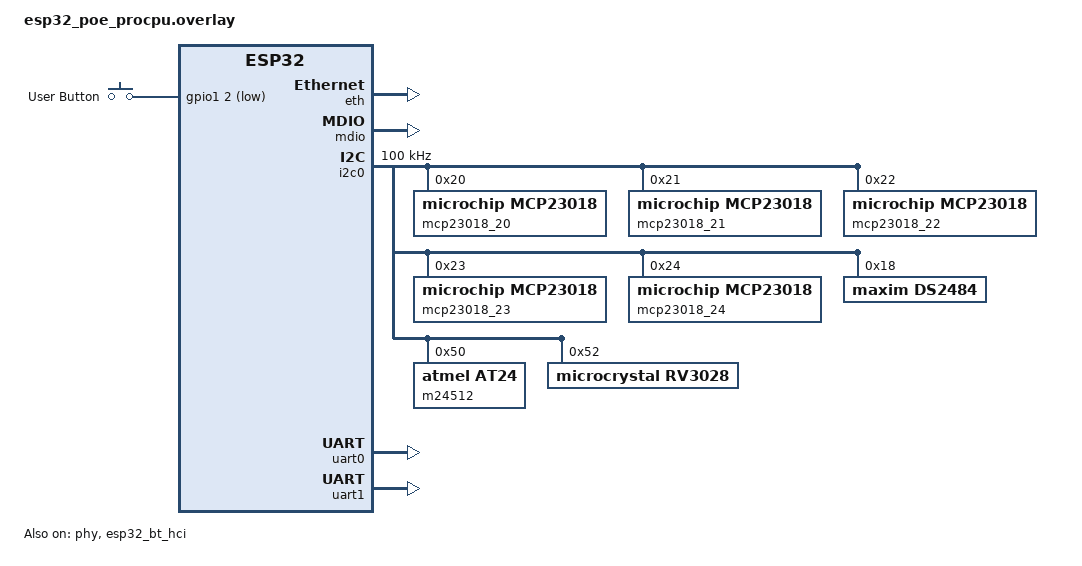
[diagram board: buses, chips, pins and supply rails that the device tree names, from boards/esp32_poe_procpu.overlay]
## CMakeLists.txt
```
# SPDX-License-Identifier: Apache-2.0

cmake_minimum_required(VERSION 3.20.0)

find_package(Zephyr REQUIRED HINTS $ENV{ZEPHYR_BASE})
project(siot)

zephyr_include_directories(
	${CMAKE_CURRENT_SOURCE_DIR}/../common
	${CMAKE_CURRENT_SOURCE_DIR}/snmp
)

target_sources(app PRIVATE 
	src/main.c
	src/network.c 
	src/led.c
	src/w1.c
	src/web.c
	src/dc.c
	src/fan.c
	src/ats.c
	src/snmp.c
	# src/ble.c
	snmp/z-mr.mib.c
	src/eeprom.c
)

set(gen_dir ${ZEPHYR_BINARY_DIR}/include/generated/)

foreach(web_resource index.html index.js)
	generate_inc_file_for_target(
		app
		frontend/dist/${web_resource}
		${gen_dir}/${web_resource}.gz.inc
		--gzip
	)
endforeach()

zephyr_linker_sources(SECTIONS sections-rom.ld)

zephyr_linker_section_ifdef(CONFIG_NET_SAMPLE_HTTP_SERVICE NAME
				http_resource_desc_test_http_service
				KVMA RAM_REGION GROUP RODATA_REGION
				SUBALIGN Z_LINK_ITERABLE_SUBALIGN)
```

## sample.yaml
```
sample:
  description: Zonit M+R
  name: z-mr
common:
  tags: introduction
  integration_platforms:
    - native_sim
  harness: console
  harness_config:
    type: one_line
    regex:
      - "Hello World! (.*)"
tests:
  sample.basic.helloworld:
    tags: introduction
  sample.bluetooth.peripheral:
    harness: bluetooth
    platform_allow:
      - qemu_x86
      - nucleo_wb55rg
    integration_platforms:
      - qemu_x86
    tags: bluetooth
  sample.bluetooth.peripheral.x_nucleo_idb05a1_shield:
    harness: bluetooth
    platform_allow: nucleo_l4r5zi
    depends_on:
      - arduino_spi
      - arduino_gpio
    extra_args: SHIELD=x_nucleo_idb05a1
    integration_platforms:
      - nucleo_l4r5zi
  sample.bluetooth.peripheral.no_blobs:
    extra_args:
      - CONFIG_BUILD_ONLY_NO_BLOBS=y
    platform_allow:
      - esp32_devkitc_wroom/esp32/procpu
      - esp32s3_devkitm/esp32s3/procpu
      - esp32c3_devkitm
      - sltb010a/efr32bg22c224f512im40
      - xg24_rb4187c/efr32mg24b220f1536im48
      - xg27_dk2602a/efr32bg27c140f768im40
      - xg29_rb4412a/efr32mg29b140f1024im40
    build_only: true
```

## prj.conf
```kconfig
CONFIG_SHELL=y

CONFIG_NETWORKING=y
CONFIG_NET_L2_ETHERNET=y

CONFIG_NET_IPV6=n
CONFIG_NET_IPV4=y
CONFIG_NET_DHCPV4=y
CONFIG_NET_SOCKETS=y
CONFIG_NET_TCP=y
CONFIG_NET_UDP=y
CONFIG_NET_CONNECTION_MANAGER=y
CONFIG_NET_LOG=y

# Enable LLMNR to find the device "by name"
# A different name can be chosen in stead of "esp32"
# Don't forget to set LLMNR=yes in /etc/systemd/resolved.conf
CONFIG_NET_HOSTNAME_ENABLE=y
CONFIG_NET_HOSTNAME="Z-MR"
CONFIG_LLMNR_RESPONDER=y

# CONFIG_NET_SHELL=y
CONFIG_NET_CONFIG_SETTINGS=y
# This determines the max number of sockets in a call to select().
CONFIG_ZVFS_POLL_MAX=16

CONFIG_DNS_RESOLVER=y
CONFIG_DNS_SERVER_IP_ADDRESSES=y
CONFIG_DNS_SERVER1="8.8.8.8"

# HTTP Server stuff
CONFIG_HTTP_SERVER=y
#CONFIG_HTTP_SERVER_WEBSOCKET=y
CONFIG_HTTP_SERVER_RESOURCE_WILDCARD=y
#CONFIG_NET_HTTP_SERVER_LOG_LEVEL_DBG=y
CONFIG_EVENTFD=y
CONFIG_ZVFS_EVENTFD_MAX=10
CONFIG_EVENTFD_MAX=5
CONFIG_INIT_STACKS=y
CONFIG_ZVFS_OPEN_MAX=32
CONFIG_POSIX_API=y
CONFIG_POSIX_CLOCK=y
CONFIG_POSIX_TIMERS=y
CONFIG_FDTABLE=y
CONFIG_NET_SOCKETS_POLL_MAX=16

CONFIG_HTTP_PARSER_URL=y
CONFIG_HTTP_PARSER=y
CONFIG_HTTP_SERVER=y
CONFIG_HTTP_SERVER_MAX_CLIENTS=3

# Network buffers
CONFIG_NET_PKT_RX_COUNT=8
CONFIG_NET_PKT_TX_COUNT=8
CONFIG_NET_BUF_RX_COUNT=64
CONFIG_NET_BUF_TX_COUNT=64
CONFIG_NET_CONTEXT_NET_PKT_POOL=y

# CONFIG_HTTP_SERVER_MAX_HEADER_LEN=256

# IP address options
CONFIG_NET_IF_UNICAST_IPV6_ADDR_COUNT=3
CONFIG_NET_IF_MCAST_IPV6_ADDR_COUNT=4
CONFIG_NET_MAX_CONTEXTS=32
CONFIG_NET_MAX_CONN=32
# Limits the time blocked in recv() and rechfrom().
CONFIG_NET_CONTEXT_RCVTIMEO=y

CONFIG_LOG=y
CONFIG_LOG_CMDS=y
CONFIG_THREAD_MONITOR=y
CONFIG_THREAD_RUNTIME_STATS=y
CONFIG_SCHED_THREAD_USAGE=y
CONFIG_SCHED_THREAD_USAGE_ANALYSIS=y
CONFIG_SCHED_THREAD_USAGE_ALL=y
CONFIG_SCHED_THREAD_USAGE_AUTO_ENABLE=y

CONFIG_INPUT=y
# CONFIG_INPUT_SHELL=y
# CONFIG_INPUT_EVENT_DUMP=y

# DEBUGGING STUFF
CONFIG_LED=y
# CONFIG_LED_SHELL=y

# CONFIG_SNMP_LOG_LEVEL_DBG=y
CONFIG_GPIO=y
CONFIG_GPIO_MCP230XX=y
CONFIG_I2C=y
CONFIG_I2C_SHELL=y
# CONFIG_I2C_LOG_LEVEL_DEBUG=y
CONFIG_GPIO_SHELL=y
# CONFIG_GPIO_DIRECTION=y
# CONFIG_GPIO_GET_CONFIG=y
CONFIG_GPIO_LOG_LEVEL_DBG=y

CONFIG_W1=y
CONFIG_W1_SHELL=y
CONFIG_W1_DS2484=y
CONFIG_SENSOR=y
# CONFIG_SENSOR_SHELL=y
CONFIG_SENSOR_LOG_LEVEL_DBG=y
CONFIG_DS18B20=y

# use ASSERT during development and remove before releases
CONFIG_ASSERT=y
CONFIG_ZBUS=y
CONFIG_ZBUS_RUNTIME_OBSERVERS=y
CONFIG_ZBUS_MSG_SUBSCRIBER=y
CONFIG_ZBUS_LOG_LEVEL_INF=y
# CONFIG_ZBUS_RUNTIME_OBSERVERS_POOL_SIZE=8
CONFIG_ZBUS_CHANNEL_NAME=y

# lib SNMP does not compile yet
# Uncomment the line to start including SNMP.
CONFIG_LIB_SNMP=y

CONFIG_LIB_SIOT=y

# these two options are currently crashing the system once we fetch a point
CONFIG_REQUIRES_FLOAT_PRINTF=y

# CONFIG_DEBUG_COREDUMP=y

# Not sure if this does anything, does not seem to make and diff
# in memory usage
CONFIG_FPU=y

# for bluetooth:
CONFIG_SYSTEM_WORKQUEUE_STACK_SIZE=2048

# CONFIG_BT=y
CONFIG_BT_SMP=y
CONFIG_BT_SIGNING=y
CONFIG_BT_PERIPHERAL=y
CONFIG_BT_DIS=y
CONFIG_BT_ATT_PREPARE_COUNT=5

CONFIG_BT_BAS=y
CONFIG_BT_HRS=y
CONFIG_BT_IAS=y
CONFIG_BT_CTS=y
CONFIG_BT_CTS_HELPER_API=y
CONFIG_BT_PRIVACY=y
CONFIG_BT_DEVICE_NAME="Z-MR BLE"
CONFIG_BT_DEVICE_APPEARANCE=833
CONFIG_BT_DEVICE_NAME_DYNAMIC=y

CONFIG_BT_DEVICE_NAME_MAX=10

CONFIG_BT_KEYS_OVERWRITE_OLDEST=y
CONFIG_BT_SETTINGS=y
CONFIG_FLASH=y
CONFIG_FLASH_MAP=y
CONFIG_NVS=y
CONFIG_SETTINGS=y

# Console and logging configurations
CONFIG_SERIAL=y
CONFIG_CONSOLE=y
CONFIG_UART_CONSOLE=y
CONFIG_LOG_PROCESS_THREAD=y
CONFIG_LOG_BUFFER_SIZE=1024
CONFIG_LOG_PRINTK=y
CONFIG_BOOT_BANNER=y
```

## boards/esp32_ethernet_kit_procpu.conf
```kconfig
CONFIG_ETH_ESP32=y

CONFIG_FLASH=y
CONFIG_NVS=y
CONFIG_REBOOT=y
CONFIG_MPU_ALLOW_FLASH_WRITE=y
CONFIG_NVS_LOG_LEVEL_DBG=y

# Enable ESP32 Bluetooth
CONFIG_BT_ESP32=y
CONFIG_BT_HCI_ESP32=y

# PHY configuration
CONFIG_ESP_PHY_MAX_TX_POWER=20

# ESP32 BT Controller configurations
CONFIG_ESP32_BT_CONTROLLER_STACK_SIZE=2048
CONFIG_ESP32_BT_CONTROLLER_TASK_PRIO=2
```

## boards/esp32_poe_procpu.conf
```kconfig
CONFIG_ETH_ESP32=y

CONFIG_FLASH=y
CONFIG_NVS=y
CONFIG_REBOOT=y
CONFIG_MPU_ALLOW_FLASH_WRITE=y
CONFIG_NVS_LOG_LEVEL_DBG=y

CONFIG_EEPROM=y
CONFIG_EEPROM_AT24=y
CONFIG_EEPROM_SHELL=y

CONFIG_RTC=y
CONFIG_RTC_SHELL=y

CONFIG_INPUT=y
```

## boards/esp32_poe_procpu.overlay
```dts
/*
 * Copyright (c) 2022 Grant Ramsay <grant.ramsay@hotmail.com>
 *
 * SPDX-License-Identifier: Apache-2.0
 */

#include <zephyr/dt-bindings/input/input-event-codes.h>

&eth {
	status = "okay";
};

&phy {
	status = "okay";
};

&mdio {
	status = "okay";
};



&i2c0 {
    status = "okay";
    clock-frequency = <I2C_BITRATE_STANDARD>;

	mcp23018_20: mcp23018@20 {
        compatible = "microchip,mcp23018";
        reg = < 0x20 >;
        gpio-controller;
        ngpios = < 16 >;
        #gpio-cells = < 2 >;
    };

	mcp23018_21: mcp23018@21 {
        compatible = "microchip,mcp23018";
        reg = < 0x21 >;
        gpio-controller;
        ngpios = < 16 >;
        #gpio-cells = < 2 >;
    };
	
	mcp23018_22: mcp23018@22 {
        compatible = "microchip,mcp23018";
        reg = < 0x22 >;
        gpio-controller;
        ngpios = < 16 >;
        #gpio-cells = < 2 >;
    };

	mcp23018_23: mcp23018@23 {
        compatible = "microchip,mcp23018";
        reg = < 0x23 >;
        gpio-controller;
        ngpios = < 16 >;
        #gpio-cells = < 2 >;
    };

	mcp23018_24: mcp23018@24 {
        compatible = "microchip,mcp23018";
        reg = < 0x24 >;
        gpio-controller;
        ngpios = < 16 >;
        #gpio-cells = < 2 >;
    };

	ds2484: ds2484@18 {
        compatible = "maxim,ds2484";
        reg = <0x18>;
        status = "okay";

		ds18b20 {
			compatible = "maxim,ds18b20";
			family-code = <0x28>;
			resolution = <12>;
			status = "okay";
		};
    };

	m24512: m24512@50 {
        compatible = "atmel,at24";
        reg = <0x50>;
        size = <DT_SIZE_K(512)>;
        pagesize = <64>;
        address-width = <16>;
        timeout = <125>;
    };

	 rv3028: rv3028@52 {
        compatible = "microcrystal,rv3028";
        reg = <0x52>;
		backup-switch-mode = "direct";
		trickle-resistor-ohms = <3000>;
    };
};

&uart0 {
    status = "okay";
};

&uart1 {
    status = "okay";
};

&esp32_bt_hci {
    status = "okay";
};

/ {
    zbuttons:zbuttons {
        compatible = "gpio-keys";
        user_button: button {
            gpios = <&gpio1 2 (GPIO_ACTIVE_LOW)>;
			label = "User Button";
            zephyr,code = <INPUT_KEY_0>;
        };
	};

	chosen {
        zephyr,bt-c2h-uart = &uart1;
    };
};
```

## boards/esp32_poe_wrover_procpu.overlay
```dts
/*
 * Copyright (c) 2022 Grant Ramsay <grant.ramsay@hotmail.com>
 *
 * SPDX-License-Identifier: Apache-2.0
 */

#include <zephyr/dt-bindings/input/input-event-codes.h>
#include <zephyr/dt-bindings/input/keymap.h>

&eth {
	status = "okay";
};

&phy {
	status = "okay";
};

&mdio {
	status = "okay";
};

&i2c0 {
    status = "okay";
    clock-frequency = <I2C_BITRATE_STANDARD>;

	mcp23018_20: mcp23018@20 {
        compatible = "microchip,mcp23018";
        reg = < 0x20 >;
        gpio-controller;
        ngpios = < 16 >;
        #gpio-cells = < 2 >;
    };

	ds2484: ds2484@18 {
        compatible = "maxim,ds2484";
        reg = <0x18>;
        status = "okay";

		ds18b20 {
			compatible = "maxim,ds18b20";
			family-code = <0x28>;
			resolution = <12>;
			status = "okay";
		};
    };
};
```

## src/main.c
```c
#include "zpoint.h"

#include <nvs.h>
#include <point.h>
// #include <ble.h>
#include <stdint.h>
#include <zephyr/logging/log.h>
#include <zephyr/zbus/zbus.h>
#include <zephyr/drivers/eeprom.h>
#include <zephyr/device.h>
#include <zephyr/input/input.h>
#include <app_version.h>

LOG_MODULE_REGISTER(z_mr, LOG_LEVEL_DBG);

ZBUS_CHAN_DECLARE(point_chan);

const point_def point_def_snmp_server = {POINT_TYPE_SNMP_SERVER, POINT_DATA_TYPE_STRING};

// The following points will get persisted in NVS when the show up on
// zbus point_chan.
static const struct nvs_point nvs_pts[] = {
	{1, &point_def_boot_count, "0"},  {2, &point_def_description, "0"},
	{3, &point_def_staticip, "0"},    {4, &point_def_address, "0"},
	{5, &point_def_gateway, "0"},     {6, &point_def_netmask, "0"},
	{7, &point_def_snmp_server, "0"},
};

static void input_callback(struct input_event *evt, void *user_data)
{
	if (evt->type == INPUT_EV_KEY) {
		if (evt->code == INPUT_KEY_0) {
			point p;
			point_set_type_key(&p, POINT_TYPE_SWITCH, "0");
			point_put_int(&p, evt->value);
			zbus_chan_pub(&point_chan, &p, K_MSEC(500));
		}
	}
}

INPUT_CALLBACK_DEFINE(NULL, input_callback, NULL);

int main(void)
{
	LOG_INF("Zonit Z-MR: %s %s", CONFIG_BOARD_TARGET, APP_VERSION_EXTENDED_STRING);

	nvs_init(nvs_pts, ARRAY_SIZE(nvs_pts));

	// ble_init();
}
```

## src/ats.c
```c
#include "ats.h"
#include "zpoint.h"

ats_chan_state z_ats_get_state_a(ats *a)
{
	if (!a->aon && !a->ona) {
		return ATS_OFF;
	} else if (a->aon && !a->ona) {
		return ATS_ON;
	} else if (a->ona) {
		return ATS_ACTIVE;
	}

	return ATS_ERROR;
}

ats_chan_state z_ats_get_state_b(ats *a)
{
	if (!a->bon && !a->onb) {
		return ATS_OFF;
	} else if (a->bon && !a->onb) {
		return ATS_ON;
	} else if (a->onb) {
		return ATS_ACTIVE;
	}

	return ATS_ERROR;
}
```

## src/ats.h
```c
#ifndef __ATS_H_
#define __ATS_H_

#include "zpoint.h"

#include <stdbool.h>

typedef struct {
	bool aon;
	bool bon;
	bool ona;
	bool onb;
} ats;

typedef struct {
	ats state[6];
} ats_state;

#define INIT_ATS_STATE()                                                                           \
	(ats_state)                                                                                \
	{                                                                                          \
		.state = { [0 ... 5] = {.aon = false, .bon = false, .ona = false, .onb = false} }  \
	}

#define AON 0
#define ONA 1
#define BON 2
#define ONB 3

typedef enum {
	ATS_OFF,
	ATS_ON,
	ATS_ACTIVE,
	ATS_ERROR,
} ats_chan_state;

ats_chan_state z_ats_get_state_a(ats *a);
ats_chan_state z_ats_get_state_b(ats *a);

#endif
```

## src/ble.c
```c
#include <zephyr/bluetooth/bluetooth.h>
#include <zephyr/bluetooth/hci.h>
#include <zephyr/bluetooth/conn.h>
#include <zephyr/bluetooth/uuid.h>
#include <zephyr/bluetooth/gatt.h>
#include <zephyr/logging/log.h>
#include "ble.h"

LOG_MODULE_REGISTER(ble, LOG_LEVEL_INF);

#define SERVICE_UUID_VAL BT_UUID_128_ENCODE(0x4fafc201, 0x1fb5, 0x459e, 0x8fcc, 0xc5c9c331914b)
#define CHAR_UUID_VAL    BT_UUID_128_ENCODE(0xbeb5483e, 0x36e1, 0x4688, 0xb7f5, 0xea07361b26a8)

// Define characteristic UUIDs for different data types
#define SYSTEM_STATUS_UUID_VAL BT_UUID_128_ENCODE(0xbeb5483e, 0x36e1, 4688, 0xb7f5, 0xea07361b26a8)
#define ATS_STATUS_UUID_VAL    BT_UUID_128_ENCODE(0xbeb5483e, 0x36e1, 4689, 0xb7f5, 0xea07361b26a8)
#define SETTINGS_UUID_VAL      BT_UUID_128_ENCODE(0xbeb5483e, 0x36e1, 4690, 0xb7f5, 0xea07361b26a8)

// Buffers for each characteristic
static uint8_t system_status_buffer[256];
static uint8_t ats_status_buffer[256];
static uint8_t settings_buffer[512];

// CCC configurations
static struct bt_gatt_ccc_cfg system_status_ccc_cfg[BT_GATT_CCC_MAX] = {};
static struct bt_gatt_ccc_cfg ats_status_ccc_cfg[BT_GATT_CCC_MAX] = {};

static struct bt_conn *current_conn;
static bool device_connected;
static const struct bt_data ad[] = {
	BT_DATA_BYTES(BT_DATA_FLAGS, (BT_LE_AD_GENERAL | BT_LE_AD_NO_BREDR)),
	BT_DATA_BYTES(BT_DATA_UUID128_ALL, SERVICE_UUID_VAL),
};

static void connected(struct bt_conn *conn, uint8_t err)
{
	if (err) {
		LOG_ERR("Connection failed (%u)", err);
		return;
	}
	current_conn = bt_conn_ref(conn);
	device_connected = true;
}

static void disconnected(struct bt_conn *conn, uint8_t reason)
{
	if (current_conn) {
		bt_conn_unref(current_conn);
		current_conn = NULL;
		device_connected = false;
	}
}

static struct bt_conn_cb conn_callbacks = {
	.connected = connected,
	.disconnected = disconnected,
};

void ble_init(void)
{
	if (bt_enable(NULL)) {
		return;
	}
	bt_conn_cb_register(&conn_callbacks);
	ble_start_advertising();
}

void ble_start_advertising(void)
{
	bt_le_adv_start(BT_LE_ADV_CONN_NAME, ad, ARRAY_SIZE(ad), NULL, 0);
}

bool ble_is_connected(void)
{
	return device_connected;
}

// Remove ble_send_pin_status() if not implemented/needed

// Callback handlers
static void status_ccc_cfg_changed(const struct bt_gatt_attr *attr, uint16_t value)
{
	bool notifications = (value == BT_GATT_CCC_NOTIFY);
	LOG_INF("Status notifications %s", notifications ? "enabled" : "disabled");
}

// Read handlers
static ssize_t read_system_status(struct bt_conn *conn, const struct bt_gatt_attr *attr, void *buf,
				  uint16_t len, uint16_t offset)
{
	k_mutex_lock(&web_points_lock, K_FOREVER);

	// Filter and encode only system status points
	point status_points[5];
	int count = 0;

	for (int i = 0; i < ARRAY_SIZE(web_points); i++) {
		if (Point.isSystemPoint(&web_points[i])) { // You'll need to implement this
			status_points[count++] = web_points[i];
		}
	}

	int ret = points_json_encode(status_points, count, system_status_buffer,
				     sizeof(system_status_buffer));
	k_mutex_unlock(&web_points_lock);

	if (ret < 0) {
		return BT_GATT_ERR(BT_ATT_ERR_UNLIKELY);
	}

	return bt_gatt_attr_read(conn, attr, buf, len, offset, system_status_buffer,
				 strlen(system_status_buffer));
}

static ssize_t read_ats_status(struct bt_conn *conn, const struct bt_gatt_attr *attr, void *buf,
			       uint16_t len, uint16_t offset)
{
	k_mutex_lock(&web_points_lock, K_FOREVER);

	// Filter and encode only ATS-related points
	point ats_points[12]; // 6 for side A, 6 for side B
	int count = 0;

	for (int i = 0; i < ARRAY_SIZE(web_points); i++) {
		if (Point.isAtsPoint(&web_points[i])) { // You'll need to implement this
			ats_points[count++] = web_points[i];
		}
	}

	int ret =
		points_json_encode(ats_points, count, ats_status_buffer, sizeof(ats_status_buffer));
	k_mutex_unlock(&web_points_lock);

	if (ret < 0) {
		return BT_GATT_ERR(BT_ATT_ERR_UNLIKELY);
	}

	return bt_gatt_attr_read(conn, attr, buf, len, offset, ats_status_buffer,
				 strlen(ats_status_buffer));
}

// Write handler for settings
static ssize_t write_settings(struct bt_conn *conn, const struct bt_gatt_attr *attr,
			      const void *buf, uint16_t len, uint16_t offset, uint8_t flags)
{
	point pts[5] = {};
	int ret = points_json_decode(buf, len, pts, ARRAY_SIZE(pts));

	if (ret < 0) {
		return BT_GATT_ERR(BT_ATT_ERR_INVALID_ATTRIBUTE_LEN);
	}

	k_mutex_lock(&web_points_lock, K_FOREVER);
	for (int i = 0; i < ret; i++) {
		if (Point.isSettingsPoint(&pts[i])) { // You'll need to implement this
			points_merge(web_points, ARRAY_SIZE(web_points), &pts[i]);
			zbus_chan_pub(&point_chan, &pts[i], K_MSEC(500));
		}
	}
	k_mutex_unlock(&web_points_lock);

	return len;
}

// GATT service definition
BT_GATT_SERVICE_DEFINE(zmr_svc, BT_GATT_PRIMARY_SERVICE(BT_UUID_DECLARE_128(SERVICE_UUID_VAL)),

		       // System Status characteristic
		       BT_GATT_CHARACTERISTIC(BT_UUID_DECLARE_128(SYSTEM_STATUS_UUID_VAL),
					      BT_GATT_CHRC_READ | BT_GATT_CHRC_NOTIFY,
					      BT_GATT_PERM_READ, read_system_status, NULL, NULL),
		       BT_GATT_CCC(system_status_ccc_cfg, status_ccc_cfg_changed),

		       // ATS Status characteristic
		       BT_GATT_CHARACTERISTIC(BT_UUID_DECLARE_128(ATS_STATUS_UUID_VAL),
					      BT_GATT_CHRC_READ | BT_GATT_CHRC_NOTIFY,
					      BT_GATT_PERM_READ, read_ats_status, NULL, NULL),
		       BT_GATT_CCC(ats_status_ccc_cfg, status_ccc_cfg_changed),

		       // Settings characteristic
		       BT_GATT_CHARACTERISTIC(BT_UUID_DECLARE_128(SETTINGS_UUID_VAL),
					      BT_GATT_CHRC_READ | BT_GATT_CHRC_WRITE,
					      BT_GATT_PERM_READ | BT_GATT_PERM_WRITE,
					      read_system_status, write_settings, NULL), );
```

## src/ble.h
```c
/**
 * @file ble.h
 * @brief Bluetooth Low Energy interface
 *
 * This header provides the public interface for the BLE functionality
 */

#ifndef BLE_H_
#define BLE_H_

#ifdef __cplusplus
extern "C" {
#endif

/**
 * @brief Initialize the BLE subsystem
 *
 * This function initializes Bluetooth, starts advertising, and sets up all required
 * services including vendor-specific service, Heart Rate Service (HRS),
 * Battery Service (BAS), and Current Time Service (CTS).
 *
 * @return 0 on success, negative errno on failure
 */
int ble_init(void);

#ifdef __cplusplus
}
#endif

#endif /* BLE_H_ */
```

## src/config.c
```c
#include "config.h"
#include "point.h"

#include <zephyr/kernel.h>
#include <zephyr/fs/nvs.h>
#include <zephyr/logging/log.h>
#include <zephyr/drivers/flash.h>
#include <zephyr/storage/flash_map.h>
#include <zephyr/zbus/zbus.h>

#define STACKSIZE 1024
#define PRIORITY  7

LOG_MODULE_REGISTER(z_config, LOG_LEVEL_DBG);

ZBUS_CHAN_DECLARE(z_config_chan);
ZBUS_CHAN_DECLARE(z_point_chan);

// ********************************
// NVS Config storage

// NVS Keys
#define NVS_KEY_BOOT_CNT    1
#define NVS_KEY_DESCRIPTION 2
#define NVS_KEY_STATIC_IP   3
#define NVS_KEY_IP_ADDR     4
#define NVS_KEY_GATEWAY     5
#define NVS_KEY_NETMASK     6

static struct nvs_fs fs;

#define NVS_PARTITION        storage_partition
#define NVS_PARTITION_DEVICE FIXED_PARTITION_DEVICE(NVS_PARTITION)
#define NVS_PARTITION_OFFSET FIXED_PARTITION_OFFSET(NVS_PARTITION)

static z_mr_config config = Z_MR_CONFIG_INIT;

void nvs_dump_settings(z_mr_config *config)
{
	LOG_INF("Device ID: %s", config->device_id);

	LOG_INF("Static IP enabled: %s", config->static_ip ? "yes" : "no");

	LOG_INF("IP Address: %s", config->ip_addr);

	LOG_INF("Subnet mask: %s", config->subnet_mask);

	LOG_INF("Gateway: %s", config->gateway);
}

static char buf[30];

int nvs_init()
{
	struct flash_pages_info info;
	int rc = 0;

	/* define the nvs file system by settings with:
	 *	sector_size equal to the pagesize,
	 *	3 sectors
	 *	starting at NVS_PARTITION_OFFSET
	 */
	fs.flash_device = NVS_PARTITION_DEVICE;
	if (!device_is_ready(fs.flash_device)) {
		LOG_ERR("Flash device %s is not ready\n", fs.flash_device->name);
		return -1;
	}
	fs.offset = NVS_PARTITION_OFFSET;
	rc = flash_get_page_info_by_offs(fs.flash_device, fs.offset, &info);
	if (rc) {
		LOG_ERR("Unable to get page info\n");
		return -1;
	}
	fs.sector_size = info.size;
	fs.sector_count = 3U;

	rc = nvs_mount(&fs);
	if (rc) {
		LOG_ERR("Flash Init failed\n");
		return -1;
	}

	rc = nvs_read(&fs, NVS_KEY_BOOT_CNT, &config.bootcount, sizeof(config.bootcount));
	if (rc > 0) { /* item was found, show it */
		LOG_INF("Boot count: %d\n", config.bootcount);
		config.bootcount++;
		(void)nvs_write(&fs, NVS_KEY_BOOT_CNT, &config.bootcount, sizeof(config.bootcount));
	} else { /* item was not found, add it */
		LOG_INF("No boot counter found, adding it at id %d\n", NVS_KEY_BOOT_CNT);
		(void)nvs_write(&fs, NVS_KEY_BOOT_CNT, &config.bootcount, sizeof(config.bootcount));
	}

	rc = nvs_read(&fs, NVS_KEY_DESCRIPTION, &config.device_id, sizeof(config.device_id));
	if (rc < 0) {
		LOG_ERR("Error reading device id: %i", rc);
		nvs_write(&fs, NVS_KEY_DESCRIPTION, "", sizeof(""));
	}

	nvs_read(&fs, NVS_KEY_STATIC_IP, &buf, sizeof(buf));
	if (rc > 0) {
		if (strcmp("true", buf)) {
			config.static_ip = true;
		} else {
			config.static_ip = false;
		}
	}

	nvs_read(&fs, NVS_KEY_IP_ADDR, &config.ip_addr, sizeof(config.ip_addr));
	if (rc < 0) {
		LOG_ERR("Error reading IP address: %i", rc);
		nvs_write(&fs, NVS_KEY_IP_ADDR, "", sizeof(""));
	}

	nvs_read(&fs, NVS_KEY_NETMASK, &config.subnet_mask, sizeof(config.subnet_mask));
	if (rc < 0) {
		LOG_ERR("Error reading subnet mask: %i", rc);
		nvs_write(&fs, NVS_KEY_NETMASK, "", sizeof(""));
	}

	nvs_read(&fs, NVS_KEY_GATEWAY, &config.gateway, sizeof(config.gateway));
	if (rc < 0) {
		LOG_ERR("Error reading gateway: %i", rc);
		nvs_write(&fs, NVS_KEY_GATEWAY, "", sizeof(""));
	}

	nvs_dump_settings(&config);

	zbus_chan_pub(&z_config_chan, &config, K_MSEC(500));

	return 0;
}

int point_type_key_to_nvs_id(char *type, char *key)
{
	if (strcmp(type, POINT_TYPE_DESCRIPTION) == 0) {
		return NVS_KEY_DESCRIPTION;
	} else if (strcmp(type, POINT_TYPE_STATICIP) == 0) {
		return NVS_KEY_STATIC_IP;
	} else if (strcmp(type, POINT_TYPE_ADDRESS) == 0) {
		return NVS_KEY_IP_ADDR;
	} else if (strcmp(type, POINT_TYPE_NETMASK) == 0) {
		return NVS_KEY_NETMASK;
	} else if (strcmp(type, POINT_TYPE_GATEWAY) == 0) {
		return NVS_KEY_GATEWAY;
	} else {
		return -1;
	}
}

void z_config_handle_point(point *p)
{

	int nvs_id = point_type_key_to_nvs_id(p->type, p->key);

	if (nvs_id < 0) {
		LOG_ERR("Unhandled setting: %s:%s", p->type, p->key);
		return;
	}

	int len = point_data_len(p);

	if (len <= 0) {
		LOG_DBG("Warning, received point with data len: %i", len);
	}

	ssize_t cnt = nvs_write(&fs, nvs_id, p->data, len);
	// 0 indicates value is already written and nothing to do
	if (cnt != 0 && (cnt < 0 || cnt != len)) {
		LOG_ERR("Error writing setting: %s, len: %i, written: %zu", p->type, len, cnt);
		return;
	}
}

ZBUS_MSG_SUBSCRIBER_DEFINE(z_config_sub);

// For some reason the following does not work, so added a ZBUS_OBS_DECLARE in main.c
// ZBUS_CHAN_ADD_OBS(z_config_chan, z_config_sub, 3);

void z_config_thread(void *arg1, void *arg2, void *arg3)
{
	LOG_INF("z config thread");
	nvs_init();

	const struct zbus_channel *chan;
	point p;

	while (!zbus_sub_wait_msg(&z_config_sub, &chan, &p, K_FOREVER)) {
		if (chan == &z_point_chan) {
			char desc[40];
			point_description(&p, desc, sizeof(desc));
			LOG_DBG("CLIFF: config read point: %s", desc);
			z_config_handle_point(&p);
		}
	}
}

K_THREAD_DEFINE(z_config, STACKSIZE, z_config_thread, NULL, NULL, NULL, PRIORITY, K_ESSENTIAL, 0);
```

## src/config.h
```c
#ifndef __CONFIG_H_
#define __CONFIG_H_

#include <stdint.h>
#include <stdbool.h>

typedef struct z_mr_config_t {
  uint32_t bootcount;
  char device_id[20];
  bool static_ip;
  char ip_addr[20];
  char subnet_mask[20];
  char gateway[20];
} z_mr_config;

#define Z_MR_CONFIG_INIT { \
    .bootcount = 0, \
    .device_id = {0}, \
    .static_ip = false, \
    .ip_addr = {0}, \
    .subnet_mask = {0}, \
    .gateway = {0} \
}


#endif  // __CONFIG_H_
```

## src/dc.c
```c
#include "ats.h"
#include "point.h"
#include "zephyr/sys/util.h"
#include "zpoint.h"

#include <zephyr/kernel.h>
#include <zephyr/logging/log.h>
#include "zephyr/kernel.h"
#include "zephyr/device.h"
#include <zephyr/input/input.h>
#include <zephyr/zbus/zbus.h>
#include <zephyr/drivers/gpio.h>

#define STACKSIZE 1024
#define PRIORITY  7

LOG_MODULE_REGISTER(z_dc, LOG_LEVEL_DBG);

ZBUS_CHAN_DECLARE(point_chan);

// ==================================================
// Industrial states

ats_state astate = INIT_ATS_STATE();

K_TIMER_DEFINE(dc_timer, NULL, NULL);

const struct device *mcp_device1 = DEVICE_DT_GET(DT_NODELABEL(mcp23018_21));
const struct device *mcp_device2 = DEVICE_DT_GET(DT_NODELABEL(mcp23018_22));

struct ats_dc {
	const struct device *dev;
	int aon;
	int ona;
	int bon;
	int onb;
};

const char *ats_states[] = {
	POINT_TYPE_ATS_A,
	POINT_TYPE_ATS_B,
};

// configure all pins with pullups
void z_dc_gpio_setup(const struct device *mcp_device)
{
	for (int i = 0; i < 16; i++) {
		int ret = gpio_pin_configure(mcp_device, i,
					     GPIO_INPUT | GPIO_ACTIVE_LOW | GPIO_PULL_UP);
		if (ret < 0) {
			LOG_ERR("Failed to configure GPIO pin %i: %d", i, ret);
			return; // FIXME remove this
		}
	}
}

void z_dc_thread(void *arg1, void *arg2, void *arg3)
{
	LOG_INF("z DC thread");

	const struct ats_dc ats_dcs[] = {
		{mcp_device1, 8 + 1, 8 + 0, 1, 0}, {mcp_device1, 8 + 3, 8 + 2, 3, 2},
		{mcp_device1, 8 + 5, 8 + 4, 5, 4}, {mcp_device2, 8 + 1, 8 + 0, 1, 0},
		{mcp_device2, 8 + 3, 8 + 2, 3, 2}, {mcp_device2, 8 + 5, 8 + 4, 5, 4},
	};

	for (int i = 0; i < 6; i++) {
		for (int j = 0; j < ARRAY_SIZE(ats_states); j++) {
			point p;
			char index[10];
			snprintf(index, sizeof(index), "%i", i);
			point_set_type_key(&p, ats_states[j], index);
			point_put_int(&p, 0);
			int ret = zbus_chan_pub(&point_chan, &p, K_MSEC(500));
			if (ret != 0) {
				LOG_ERR("Error sending initial ats state: %i", ret);
			}
		}
	}

	k_timer_start(&dc_timer, K_MSEC(200), K_MSEC(200));

	if (!device_is_ready(mcp_device1)) {
		LOG_ERR("MCP23018 device1 not ready");
	}

	if (!device_is_ready(mcp_device2)) {
		LOG_ERR("MCP23018 device2 not ready");
	}

	z_dc_gpio_setup(mcp_device1);
	z_dc_gpio_setup(mcp_device2);

	while (1) {
		k_timer_status_sync(&dc_timer);

		for (int i = 0; i < ARRAY_SIZE(ats_dcs); i++) {
			bool a_changed = false;
			bool b_changed = false;
			const struct ats_dc *a = &ats_dcs[i];
			bool aon = gpio_pin_get(a->dev, a->aon);
			bool ona = gpio_pin_get(a->dev, a->ona);
			bool bon = gpio_pin_get(a->dev, a->bon);
			bool onb = gpio_pin_get(a->dev, a->onb);

			if (aon != astate.state[i].aon) {
				LOG_DBG("ATS #%i: AON: %i", i + 1, aon);
				astate.state[i].aon = aon;
				a_changed = true;
			}

			if (ona != astate.state[i].ona) {
				LOG_DBG("ATS #%i: ONA: %i", i + 1, ona);
				astate.state[i].ona = ona;
				a_changed = true;
			}

			if (bon != astate.state[i].bon) {
				LOG_DBG("ATS #%i: BON: %i", i + 1, bon);
				astate.state[i].bon = bon;
				b_changed = true;
			}

			if (onb != astate.state[i].onb) {
				LOG_DBG("ATS #%i: ONB: %i", i + 1, onb);
				astate.state[i].onb = onb;
				b_changed = true;
			}

			point p;
			char index[10];

			if (a_changed) {
				sprintf(index, "%i", i);
				point_set_type_key(&p, POINT_TYPE_ATS_A, index);
				point_put_int(&p, z_ats_get_state_a(&astate.state[i]));
				zbus_chan_pub(&point_chan, &p, K_MSEC(500));
			}

			if (b_changed) {
				sprintf(index, "%i", i);
				point_set_type_key(&p, POINT_TYPE_ATS_B, index);
				point_put_int(&p, z_ats_get_state_b(&astate.state[i]));
				zbus_chan_pub(&point_chan, &p, K_MSEC(500));
			}
		}
	}
}

K_THREAD_DEFINE(z_dc, STACKSIZE, z_dc_thread, NULL, NULL, NULL, PRIORITY, K_ESSENTIAL, 0);
```

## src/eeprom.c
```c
#include "zephyr/sys/util.h"
#include "zpoint.h"
#include "point.h"

#include "zephyr/kernel.h"
#include <point.h>

#include <zephyr/zbus/zbus.h>
#include <zephyr/logging/log.h>
#include <zephyr/drivers/eeprom.h>
#include <stdint.h>
#include <string.h>

// EEProm layout
// https://gitea.zonit.com/Zonit-Dev/product/src/branch/master/eeprom-format.md
// IPN (internal part number): 30 bytes
// ID: 30 bytes
// Mfg date: 30 bytes

#define EEPROM_STRING_LEN 30

#define STACKSIZE 1024
#define PRIORITY  7

LOG_MODULE_REGISTER(eeprom, LOG_LEVEL_DBG);

ZBUS_CHAN_DECLARE(point_chan);

ZBUS_MSG_SUBSCRIBER_DEFINE(eeprom_sub);

struct eeprom_point {
	const point_def *point_def;
	int offset;
};

const point_def point_def_ipn = {POINT_TYPE_IPN, POINT_DATA_TYPE_STRING};
const point_def point_def_version = {POINT_TYPE_VERSION_HW, POINT_DATA_TYPE_INT};
const point_def point_def_id = {POINT_TYPE_ID, POINT_DATA_TYPE_STRING};
const point_def point_def_mfg_date = {POINT_TYPE_MFG_DATE, POINT_DATA_TYPE_STRING};

// Note, order must not be changed as EEPROM format is fixed.
// Stuff can only be added, not removed.
// Offset must be populated by eeprom_points_init()
struct eeprom_point eeprom_points[] = {
	{&point_def_ipn, 0},
	{&point_def_version, 0},
	{&point_def_id, 0},
	{&point_def_mfg_date, 0},
};

static void eeprom_points_init_offset()
{
	for (int i = 1; i < ARRAY_SIZE(eeprom_points); i++) {
		size_t size = 0;
		switch (eeprom_points[i - 1].point_def->data_type) {
		case POINT_DATA_TYPE_STRING:
			size = EEPROM_STRING_LEN;
			break;
		case POINT_DATA_TYPE_INT:
			size = sizeof(uint32_t);
			break;
		default:
			LOG_ERR("EEPROM invalid data type: %i",
				eeprom_points[i - 1].point_def->data_type);
			// eeprom_points is static table, so we panic here to make sure
			// it is complete and working before we deploy
			k_panic();
		}
		eeprom_points[i].offset = eeprom_points[i - 1].offset + size;
	}
}

void eeprom_error()
{
	LOG_ERR("Critical eeprom error, stopping thread");
	// TODO: add error reporting in this thread
	k_sleep(K_FOREVER);
}

int eeprom_write_string(const struct device *dev, int offset, char *str, size_t max)
{
	int len = strnlen(str, max - 1);
	// make sure null terminated
	str[len] = 0;
	len++;

	return eeprom_write(dev, offset, str, len);
}

int eeprom_read_string(const struct device *dev, int offset, char *str, size_t size)
{
	int rc = eeprom_read(dev, offset, str, size);

	if (rc != 0) {
		return rc;
	}

	// check for null string termination
	for (int i = 0; i < size; i++) {
		if (str[i] == 0) {
			return 0;
		}
	}

	// did not find a null termination, put one in
	str[size - 1] = 0;

	return 0;
}

int eeprom_write_uint32(const struct device *dev, int offset, uint32_t v)
{
	return eeprom_write(dev, offset, &v, sizeof(v));
}

int eeprom_read_uint32(const struct device *dev, int offset, uint32_t *v)
{
	return eeprom_read(dev, offset, v, sizeof(*v));
}

void eeprom_send_points(const struct device *dev)
{
	int ret;
	point p;
	for (int i = 0; i < ARRAY_SIZE(eeprom_points); i++) {
		point_set_type_key(&p, eeprom_points[i].point_def->type, "0");
		p.data_type = eeprom_points[i].point_def->data_type;
		switch (eeprom_points[i].point_def->data_type) {
		case POINT_DATA_TYPE_STRING:
			ret = eeprom_read_string(dev, eeprom_points[i].offset, p.data,
						 sizeof(p.data));
			if (ret != 0) {
				LOG_ERR("Error reading EEPROM %s: %i",
					eeprom_points[i].point_def->type, ret);
				continue;
			}
			zbus_chan_pub(&point_chan, &p, K_MSEC(500));
			break;
		case POINT_DATA_TYPE_INT:
			ret = eeprom_read_uint32(dev, eeprom_points[i].offset, (uint32_t *)p.data);
			if (ret != 0) {
				LOG_ERR("Error reading EEPROM %s: %i",
					eeprom_points[i].point_def->type, ret);
			}
			zbus_chan_pub(&point_chan, &p, K_MSEC(500));
			break;
		default:
			LOG_ERR("unknown eeprom data type %s: %i", eeprom_points[i].point_def->type,
				eeprom_points[i].point_def->data_type);
		}
	}
}

int eeprom_handle_point(const struct device *dev, point *p)
{
	size_t max;
	for (int i = 0; i < ARRAY_SIZE(eeprom_points); i++) {
		if (strcmp(p->type, eeprom_points[i].point_def->type) == 0) {
			LOG_DBG_POINT("Writing point to eeprom", p);
			LOG_DBG("CLIFF: Offset: %i", eeprom_points[i].offset);
			switch (eeprom_points[i].point_def->data_type) {
			case POINT_DATA_TYPE_STRING:
				max = MIN(sizeof(p->data), EEPROM_STRING_LEN);
				return eeprom_write_string(dev, eeprom_points[i].offset, p->data,
							   max);
			case POINT_DATA_TYPE_INT:
				return eeprom_write_uint32(dev, eeprom_points[i].offset,
							   *(uint32_t *)p->data);
			default:
				LOG_ERR("eeprom write, unhandled data type %s: %i",
					eeprom_points[i].point_def->type,
					eeprom_points[i].point_def->data_type);
				return -1;
			}
		}
	}

	return 0;
}

void eeprom_thread(void *arg1, void *arg2, void *arg3)
{
	const struct device *dev = DEVICE_DT_GET(DT_NODELABEL(m24512));

	if (!device_is_ready(dev)) {
		LOG_ERR("EEPROM device not ready\n");
		eeprom_error();
	}

	int size = eeprom_get_size(dev);
	LOG_DBG("EEPROM size: %i", size);

	const struct zbus_channel *chan;
	point p;

	eeprom_points_init_offset();
	eeprom_send_points(dev);

	// we dynamically add the observer after we send the eeprom points
	// this allows the above points to be sent before we start storing them
	int ret = zbus_chan_add_obs(&point_chan, &eeprom_sub, K_SECONDS(5));
	if (ret != 0) {
		LOG_DBG("Error adding observer: %i", ret);
	}

	while (!zbus_sub_wait_msg(&eeprom_sub, &chan, &p, K_FOREVER)) {
		if (chan == &point_chan) {
			int rc = eeprom_handle_point(dev, &p);
			if (rc != 0) {
				LOG_ERR("eeprom write error %s: %i", p.type, rc);
			}
		}
	}
}

K_THREAD_DEFINE(eeprom, STACKSIZE, eeprom_thread, NULL, NULL, NULL, PRIORITY, K_ESSENTIAL, 0);
```

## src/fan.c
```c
/*
 * Copyright (c) 2023 Zonit Structured Solutions, Inc.
 *
 * SPDX-License-Identifier: Apache-2.0
 */

#include "zephyr/sys/util.h"
#include "zpoint.h"

#include <point.h>
#include <siot-string.h>

#include <zephyr/kernel.h>
#include <zephyr/device.h>
#include <zephyr/logging/log.h>
#include <zephyr/drivers/gpio.h>
#include <zephyr/drivers/i2c.h>
#include <zephyr/devicetree.h>
#include <zephyr/zbus/zbus.h>
#include <stdint.h>

LOG_MODULE_REGISTER(z_fan, LOG_LEVEL_DBG);

ZBUS_CHAN_DECLARE(point_chan);
ZBUS_CHAN_DECLARE(ticker_chan);

/* size of stack area used by each thread */
#define STACKSIZE 1024

/* scheduling priority used by each thread */
#define PRIORITY 10

#define FAN_COUNT 2

// ================================================
// FAN Control tuning
// The following settings need to be tuned for:
//   - fan model
//   - power filtering circuit
//   - input voltage level
//
// Run the fan in PWM mode and watch the power
// and tachometer stability over the PWM range
// to determine the valid PWM and RPM control
// ranges for the fan.

// Min and max fan speeds
#define FAN_SPEED_MIN_RPM 4500
#define FAN_SPEED_MAX_RPM 10500

// Min PWM duty cycle, currently 5%
// the below value is 8-bit count, so calculate
// by duty-cycle * 255/100
#define FAN_MIN_DUTY_CYCLE_COUNT 13

// ================================================

// Temp sensor delta threshold to turn on fans
#define FAN_TEMP_THRESHOLD 10
#define FAN_TEMP_MAX       20
// Change which fan is running periodically
#define FAN_CHANGE_SECONDS 60

#define EMC230X_I2C_ADDR 0x2e

#define EMC230X_REG_FAN_STATUS        0x24
#define EMC230X_REG_FAN_STALL_STATUS  0x25
#define EMC230X_REG_FAN_SPIN_STATUS   0x26
#define EMC230X_REG_DRIVE_FAIL_STATUS 0x27
#define EMC230X_REG_OUTPUT_CONFIG     0x2b
#define EMC230X_REG_PWM_BASE_FREQ     0x2d
#define EMC230X_REG_VENDOR            0xfe

#define EMC230X_FAN_MAX              0xff
#define EMC230X_FAN_MIN              0x00
#define EMC230X_FAN_MAX_STATE        10
#define EMC230X_TACH_REGS_UNUSE_BITS 3

// FAN CONFIG register (0x) -- currently these are all at defaults

// The following can be used to set the FAN CONFIG:RNG bits
// 0: x1, 500 RPM min
// 1: x2: 1000 RPM min
// 2: x4: 2000 RPM min
// 3: x8: 4000 RPM min
#define EMC230X_FAN_CFG_RNG    1
// #define EMC230X_TACH_RANGE_MIN 480
#define EMC230X_TACH_RANGE_MIN 960

// Number edges to sample when calculating RPM, FAN CONFIG:EDG
// 0: 3 edges (1 pole)
// 1: 5 edges (2 poles)
// 2: 7 edges (3 poles)
// 3: 9 edges (4 poles)
#define EMC230X_FAN_CFG_EDG 1

// PID update rate
// 0: 100ms
// 1: 200ms
// 2: 300ms
// 3: 400ms
// 4: 500ms
// 5: 800ms
// 6: 1200ms
// 7: 1600ms
#define EMC230X_FAN_CFG_UDT 3

#define EMC230X_FAN_CFG_VALUE                                                                      \
	(EMC230X_FAN_CFG_RNG << 5 | EMC230X_FAN_CFG_EDG << 3 | EMC230X_FAN_CFG_UDT)

/*
 * Factor by equations [2] and [3] from data sheet; valid for fans where the number of edges
 * equal (poles * 2 + 1).
 */
#define EMC230X_RPM_FACTOR 3932160

#define EMC230X_REG_FAN_DRIVE(n)       (0x30 + 0x10 * (n))
#define EMC230X_REG_PWM_DIVIDE(n)      (0x31 + 0x10 * (n))
#define EMC230X_REG_FAN_CFG(n)         (0x32 + 0x10 * (n))
#define EMC230X_REG_FAN_MIN_DRIVE(n)   (0x38 + 0x10 * (n))
#define EMC230X_REG_FAN_VALID(n)       (0x39 + 0x10 * (n))
#define EMC230X_REG_DRIVE_FAIL_BAND(n) (0x3a + 0x10 * (n))
#define EMC230X_REG_FAN_TARGET(n)      (0x3c + 0x10 * (n))
#define EMC230X_REG_FAN_TACH(n)        (0x3e + 0x10 * (n))

typedef enum fan_id {
	FAN_NONE = 0,
	FAN_1,
	FAN_2,
} fan_id_t;

typedef enum temp_sensor {
	TEMP_NONE = 0,
	TEMP_INPUT,
	TEMP_OUTPUT,
} temp_sensor_t;

// #define ZEPHYR_USER_NODE DT_PATH(zephyr_user)

// static const struct device *gpio_dev;
// static struct gpio_callback gpio_cb;
// static bool polled_mode = false;
static bool alarm = false;
const static struct device *const i2c_dev = DEVICE_DT_GET(DT_NODELABEL(i2c0));

void fan_alarm_asserted(const struct device *dev, struct gpio_callback *cb, uint32_t pins)
{
	alarm = true;
}

int fan_i2c_read_uint8(uint8_t start_addr, uint8_t *value)
{
	return i2c_burst_read(i2c_dev, EMC230X_I2C_ADDR, start_addr, value, 1);
}

int fan_i2c_read_uint16(uint8_t start_addr, uint16_t *value)
{
	return i2c_burst_read(i2c_dev, EMC230X_I2C_ADDR, start_addr, (uint8_t *)value, 2);
}

// for regs that are big endian ...
int fan_i2c_read_uint16_be(uint8_t start_addr, uint16_t *value)
{
	uint8_t buf[2];
	int ret = i2c_burst_read(i2c_dev, EMC230X_I2C_ADDR, start_addr, buf, sizeof(buf));
	*value = buf[0] << 8 | buf[1];
	return ret;
}

int fan_i2c_write_uint8(uint8_t addr, uint8_t value)
{
	return i2c_burst_write(i2c_dev, EMC230X_I2C_ADDR, addr, &value, 1);
}

int fan_i2c_write_uint16(uint8_t addr, uint16_t value)
{
	uint8_t *buf = (uint8_t *)(&value);
	return i2c_burst_write(i2c_dev, EMC230X_I2C_ADDR, addr, buf, 2);
}

void fan_dump_regs(void)
{
	uint8_t buf[0x40];
	i2c_burst_read(i2c_dev, 0x2e, 0x20, buf, sizeof(buf));
	for (int i = 0; i < 0x40; i++) {
		LOG_INF("%02x ", buf[i]);
		if ((i & 0x0f) == 0x0f) {
			LOG_INF("\n");
		}
	}
	LOG_INF("\n");
}

/*
Highest RPM: tach = 13,000
Lowest RPM: tach = 40,000 (could go slower but may experience stability issues)
*/
#define FAN_TACH_PERIOD_MIN 13000
#define FAN_TACH_PERIOD_MAX 40000
void fan_set_tach_target_period(uint16_t tach1, uint16_t tach2)
{
	LOG_DBG("Setting fan tach target period to %d, %d\n", tach1, tach2);
	fan_i2c_write_uint16(0x3c, tach1);
	fan_i2c_write_uint16(0x4c, tach1);
}

void fan_get_tach_period(uint16_t *tach1, uint16_t *tach2)
{
	uint8_t buf[0x10];
	i2c_burst_read(i2c_dev, 0x2e, 0x3e, buf, 2);
	*tach1 = ((int16_t)buf[0] << 8) | (buf[1]);
	i2c_burst_read(i2c_dev, 0x2e, 0x4e, buf, 2);
	*tach2 = ((int16_t)buf[0] << 8) | (buf[1]);
}

void fan_get_status(void)
{
	uint8_t buf[0x10];
	i2c_burst_read(i2c_dev, 0x2e, 0x24, buf, 4);
	if (buf[1] & 0x01) {
		LOG_ERR("Fan 1 stalled\n");
	}
	if (buf[1] & 0x02) {
		LOG_ERR("Fan 2 stalled\n");
	}
	if (buf[2] & 0x01) {
		LOG_ERR("Fan 1 cannot spin\n");
	}
	if (buf[2] & 0x02) {
		LOG_ERR("Fan 2 cannot spin\n");
	}
	if (buf[3] & 0x01) {
		LOG_ERR("Fan 1 drive fail\n");
	}
	if (buf[3] & 0x02) {
		LOG_ERR("Fan 2 drive fail\n");
	}
}

bool fan_init_old(void)
{
	uint8_t buf[0x10];

	LOG_INF("Initializing fan controller...");
	// Set the fan speed target to 0xffff, which turns the fan off
	fan_set_tach_target_period(0xffff, 0xffff);
	// Enable the fan speed control algorithm
	buf[0] = 0xbb;
	i2c_burst_write(i2c_dev, 0x2e, 0x32, buf, 1);
	i2c_burst_write(i2c_dev, 0x2e, 0x42, buf, 1);
	// Set minimum drive
	buf[0] = 0x00;
	i2c_burst_write(i2c_dev, 0x2e, 0x38, buf, 1);
	i2c_burst_write(i2c_dev, 0x2e, 0x48, buf, 1);
	// Set PWM outputs to push-pull configuration
	buf[0] = 0x03;
	i2c_burst_write(i2c_dev, 0x2e, 0x2b, buf, 1);
	// Set up PWM drive frequency to 19.531 kHz
	buf[0] = 0x05;
	i2c_burst_write(i2c_dev, 0x2e, 0x2d, buf, 1);
	// Divide the PWM frequency by 2
	buf[0] = 0x02;
	i2c_burst_write(i2c_dev, 0x2e, 0x31, buf, 1);
	i2c_burst_write(i2c_dev, 0x2e, 0x41, buf, 1);
	// Enable fan alerts (interrupt enable)
	buf[0] = 0x03;
	i2c_burst_write(i2c_dev, 0x2e, 0x29, buf, 1);
	// Read fan product ID and revision registers
	i2c_burst_read(i2c_dev, 0x2e, 0xfd, buf, 3);
	LOG_DBG("Fan controller product ID: %d\n", buf[0]);
	LOG_DBG("Fan controller manufacturer ID: %d\n", buf[1]);
	LOG_DBG("Fan controller revision: %d\n", buf[2]);
	// gpio_dev = DEVICE_DT_GET(DT_NODELABEL(gpioe));
	// gpio_pin_configure(gpio_dev, 2, (GPIO_INPUT | GPIO_PULL_UP));
	// gpio_init_callback(&gpio_cb, fan_alarm_asserted, (1 << 13));
	// gpio_add_callback(gpio_dev, &gpio_cb);
	// int ret = gpio_pin_interrupt_configure(gpio_dev, 2, GPIO_INT_EDGE_FALLING);
	// if (ret != 0) {
	// 	LOG_ERR("Failed to configure fan interrupt, using polled mode");
	// 	polled_mode = true;
	// }
	return true;
}

// if in automatic mode, this function has no affect
int fan_set_drive(int index, uint8_t value)
{
	if (index >= 4) {
		LOG_ERR("invalid fan index: %i", index);
	}
	return fan_i2c_write_uint8(EMC230X_REG_FAN_DRIVE(index), value);
}

// returns RPM
int fan_read_tach(int index, int *rpm)
{
	uint16_t value;
	fan_i2c_read_uint16_be(EMC230X_REG_FAN_TACH(index), &value);
	// don't let divide by zero
	if (value == 0) {
		value = 1;
	}
	value = value >> EMC230X_TACH_REGS_UNUSE_BITS;
	*rpm = EMC230X_RPM_FACTOR * 2 / value;
	if (*rpm <= EMC230X_TACH_RANGE_MIN) {
		*rpm = 0;
	}

	// FIXME error checking
	return 0;
}

uint16_t fan_rpm_to_tach(int rpm)
{
	int value;
	if (rpm == 0) {
		value = 0xffff;
	} else {
		value = EMC230X_RPM_FACTOR * 2 / rpm;
		value = value << EMC230X_TACH_REGS_UNUSE_BITS;
		// check if we overflow 16 bits
		if (value > 0xffff) {
			value = 0xffff;
		}
	}

	return (uint16_t)value;
}

int fan_set_target(int index, int rpm)
{
	uint16_t value = fan_rpm_to_tach(rpm);

	fan_i2c_write_uint16(EMC230X_REG_FAN_TARGET(index), (uint16_t)value);
	// FIXME error checking
	return 0;
}

int fan_set_valid(int index, int rpm)
{
	uint16_t value = fan_rpm_to_tach(rpm);
	value = value >> 8;

	fan_i2c_write_uint8(EMC230X_REG_FAN_VALID(index), (uint8_t)value);
	// FIXME error checking
	return 0;
}

int fan_set_fail_band(int index, int rpm)
{
	uint16_t value = fan_rpm_to_tach(rpm);

	fan_i2c_write_uint16(EMC230X_REG_DRIVE_FAIL_BAND(index), (uint16_t)value);
	// FIXME error checking
	return 0;
}

int fan_init(bool enable_speed_control)
{
	uint8_t cfg_value = EMC230X_FAN_CFG_VALUE;

	if (enable_speed_control) {
		cfg_value |= (1 << 7);
	}
	// set to manual mode initially
	fan_i2c_write_uint8(EMC230X_REG_FAN_CFG(0), cfg_value);
	fan_i2c_write_uint8(EMC230X_REG_FAN_CFG(1), cfg_value);

	// set drive to push/pull
	fan_i2c_write_uint8(EMC230X_REG_OUTPUT_CONFIG, 0x3);

	// set PWM freq base to 19.53KHz
	fan_i2c_write_uint8(EMC230X_REG_PWM_BASE_FREQ, 0x5);

	// set PWM divide to 3
	fan_i2c_write_uint8(EMC230X_REG_PWM_DIVIDE(0), 0x2);
	fan_i2c_write_uint8(EMC230X_REG_PWM_DIVIDE(1), 0x2);

	// set speed to max
	fan_set_drive(0, 0xff);
	fan_set_drive(1, 0xff);

	fan_i2c_write_uint8(EMC230X_REG_FAN_MIN_DRIVE(0), FAN_MIN_DUTY_CYCLE_COUNT);
	fan_i2c_write_uint8(EMC230X_REG_FAN_MIN_DRIVE(1), FAN_MIN_DUTY_CYCLE_COUNT);

	// anything below 3000 RPM is flagged as a stall
	fan_set_valid(0, 3000);
	fan_set_valid(1, 3000);

	// at full drive, if the actual drive is 2000 less than commanded, flag a drive failure
	// TODO: this is not working yet
	fan_set_fail_band(0, 2000);
	fan_set_fail_band(1, 2000);

	return 0;
}

ZBUS_MSG_SUBSCRIBER_DEFINE(z_fan_sub);
ZBUS_CHAN_ADD_OBS(point_chan, z_fan_sub, 3);
ZBUS_CHAN_ADD_OBS(ticker_chan, z_fan_sub, 4);

enum fan_mode_enum {
	FAN_MODE_OFF,
	FAN_MODE_TEMP,
	FAN_MODE_TACH,
	FAN_MODE_PWM,
};

enum fan_status_enum {
	FAN_STATUS_NOT_SET,
	FAN_STATUS_OK,
	FAN_STATUS_STALL,
	FAN_STATUS_SPIN_FAIL,
	FAN_STATUS_DRIVE_FAIL,
};

#define FAN_COUNT 2

void fan_thread(void *arg1, void *arg2, void *arg3)
{

	point p;
	const struct zbus_channel *chan;

	int status_tick = 0;

	fan_init(false);

	int fan_mode = FAN_MODE_OFF;
	float fan_set_speed[2] = {FAN_COUNT};
	int fan_status[2] = {FAN_COUNT};
	// TODO: we should store the timestamp of the last valid temp
	// and run the fans at high speed if we are not getting temp values
	float temp = 0;

	while (!zbus_sub_wait_msg(&z_fan_sub, &chan, &p, K_FOREVER)) {
		if (chan == &point_chan) {
			if (strcmp(p.type, POINT_TYPE_FAN_MODE) == 0) {
				fan_mode = point_get_int(&p);
				LOG_DBG("Fan mode: %s", p.data);
				if (strcmp(p.data, POINT_VALUE_OFF) == 0) {
					fan_mode = FAN_MODE_OFF;
					fan_init(false);
				} else if (strcmp(p.data, POINT_VALUE_TEMP) == 0) {
					fan_mode = FAN_MODE_TEMP;
					fan_init(true);
				} else if (strcmp(p.data, POINT_VALUE_PWM) == 0) {
					fan_mode = FAN_MODE_PWM;
					fan_init(false);
				} else if (strcmp(p.data, POINT_VALUE_TACH) == 0) {
					fan_mode = FAN_MODE_TACH;
					fan_init(true);
				}
			} else if (strcmp(p.type, POINT_TYPE_FAN_SET_SPEED) == 0) {
				int index = atoi(p.key);
				if (index >= ARRAY_SIZE(fan_set_speed)) {
					LOG_ERR("Set fan speed, index out of bounds: %i", index);
					continue;
				}
				float speed = point_get_float(&p);
				LOG_DBG("Fan speed %i: %f", index, (double)speed);
				fan_set_speed[index] = point_get_float(&p);
			} else if (strcmp(p.type, POINT_TYPE_TEMPERATURE) == 0) {
				temp = point_get_float(&p);
			}
		} else if (chan == &ticker_chan) {
			status_tick++;
			if (status_tick >= 2) {
				for (int i = 0; i < FAN_COUNT; i++) {
					int rpm;
					fan_read_tach(i, &rpm);
					status_tick = 0;

					point p;
					char index[10];
					itoa(i, index, 10);
					point_set_type_key(&p, POINT_TYPE_FAN_SPEED, index);
					point_put_int(&p, rpm);
					zbus_chan_pub(&point_chan, &p, K_MSEC(500));

					uint8_t b;
					fan_i2c_read_uint8(EMC230X_REG_FAN_STALL_STATUS, &b);
					if (b & (1 << i)) {
						// we have a stall
						if (fan_status[i] != FAN_STATUS_STALL) {
							fan_status[i] = FAN_STATUS_STALL;
							point_set_type_key(
								&p, POINT_TYPE_FAN_STATUS, index);
							point_put_string(&p, POINT_VALUE_STALL);
							zbus_chan_pub(&point_chan, &p, K_MSEC(500));
						}
						// only report one problem
						continue;
					}

					fan_i2c_read_uint8(EMC230X_REG_FAN_SPIN_STATUS, &b);
					if (b & (1 << i)) {
						// we have a stall
						if (fan_status[i] != FAN_STATUS_SPIN_FAIL) {
							fan_status[i] = FAN_STATUS_SPIN_FAIL;
							point_set_type_key(
								&p, POINT_TYPE_FAN_STATUS, index);
							point_put_string(&p, POINT_VALUE_SPIN_FAIL);
							zbus_chan_pub(&point_chan, &p, K_MSEC(500));
						}
						// only report one problem
						continue;
					}

					fan_i2c_read_uint8(EMC230X_REG_DRIVE_FAIL_STATUS, &b);
					if (b & (1 << i)) {
						// we have a stall
						if (fan_status[i] != FAN_STATUS_DRIVE_FAIL) {
							fan_status[i] = FAN_STATUS_DRIVE_FAIL;
							point_set_type_key(
								&p, POINT_TYPE_FAN_STATUS, index);
							point_put_string(&p,
									 POINT_VALUE_DRIVE_FAIL);
							zbus_chan_pub(&point_chan, &p, K_MSEC(500));
						}
						// only report one problem
						continue;
					}

					// no errors found, make sure status is set to OK
					if (fan_status[i] != FAN_STATUS_OK) {
						fan_status[i] = FAN_STATUS_OK;
						point_set_type_key(&p, POINT_TYPE_FAN_STATUS,
								   index);
						point_put_string(&p, POINT_VALUE_OK);
						zbus_chan_pub(&point_chan, &p, K_MSEC(500));
					}
				}
			}

			// fan control
			switch (fan_mode) {
			case FAN_MODE_OFF:
				fan_set_drive(0, 0);
				fan_set_drive(1, 0);
				break;
			case FAN_MODE_PWM:
				for (int i = 0; i < ARRAY_SIZE(fan_set_speed); i++) {
					int v = fan_set_speed[i] * 255 / 100;
					if (v > 255) {
						v = 255;
					}

					if (v < 0) {
						v = 0;
					}

					fan_set_drive(i, (uint8_t)v);
				}
				break;
			case FAN_MODE_TACH:
				for (int i = 0; i < ARRAY_SIZE(fan_set_speed); i++) {
					fan_set_target(i, (int)fan_set_speed[i]);
				}
				break;
			case FAN_MODE_TEMP: {
				// the fan_set_speed contain start and max temp and we linearly
				// increase fan speed between these two temp points
				float temp_min = fan_set_speed[0];
				float temp_max = fan_set_speed[1];

				float speed;

				// check for invalid settings
				if (temp_max < temp_min || temp_min == temp_max || temp_min == 0 ||
				    temp_max == 0) {
					// run fans at full speed
					speed = FAN_SPEED_MAX_RPM;
				} else {
					speed = FAN_SPEED_MIN_RPM +
						(FAN_SPEED_MAX_RPM - FAN_SPEED_MIN_RPM) *
							(temp - temp_min) / (temp_max - temp_min);
				}

				if (speed < FAN_SPEED_MIN_RPM) {
					speed = 0;
				}

				for (int i = 0; i < FAN_COUNT; i++) {
					fan_set_target(i, (int)speed);
				}
			}

			break;
			}
		}
	}
}

K_THREAD_DEFINE(z_fan, STACKSIZE, fan_thread, NULL, NULL, NULL, PRIORITY, 0, 0);
```

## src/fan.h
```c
#ifndef FAN_H
#define FAN_H

/*
I2C address of the fan controller is 0x2e
I2C read i2c@40005400 0x2e 0x20
*/
#define TEMP_INPUT_SENSOR_ADDRESS 0x48
#define TEMP_OUTPUT_SENSOR_ADDRESS 0x49

// Temp sensor delta threshold to turn on fans
#define FAN_TEMP_THRESHOLD 10
#define FAN_TEMP_MAX       20
// Change which fan is running periodically
#define FAN_CHANGE_SECONDS 60

typedef enum fan_id {
	FAN_NONE = 0,
	FAN_1,
	FAN_2,
} fan_id_t;

typedef enum temp_sensor {
	TEMP_NONE = 0,
	TEMP_INPUT,
	TEMP_OUTPUT,
} temp_sensor_t;

#endif // FAN_H
```
